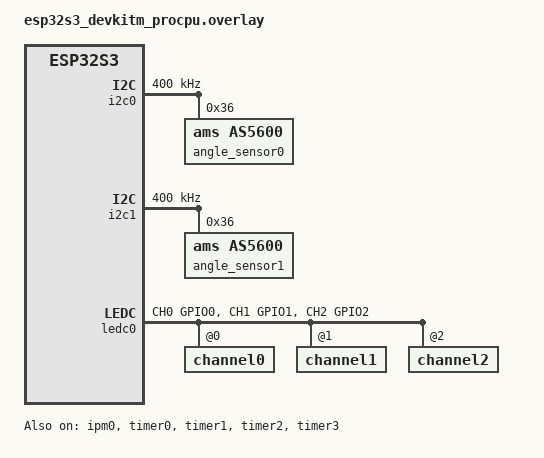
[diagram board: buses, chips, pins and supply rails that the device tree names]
/*
 * Copyright (c) 2023 Felipe Neves <ryukokki.felipe@gmail.com>
 *
 * SPDX-License-Identifier: Apache-2.0
 */

 #include <zephyr/dt-bindings/pwm/pwm.h>

/ {
	chosen {
		zephyr,console = &uart0;
		zephyr,shell-uart = &uart0;
		/*
		 * shared memory reserved for the inter-processor communication
		 */
		zephyr,ipc_shm = &shm0;
		zephyr,ipc = &ipm0;
	};
};

&pinctrl {
	ledc0_default: ledc0_default {
		group1 {
			pinmux = <LEDC_CH0_GPIO0>,
					<LEDC_CH1_GPIO1>,
					<LEDC_CH2_GPIO2>;
			output-enable;
		};
	};
};

&ipm0 {
	status = "okay";
};

&timer0 {
	status = "okay";
};

&timer1 {
	status = "okay";
};

&timer2 {
	status = "okay";
};

&timer3 {
	status = "okay";
};

&i2c0 {
	clock-frequency = <I2C_BITRATE_FAST>;
	pinctrl-0 = <&i2c0_default>;
	pinctrl-names = "default";
	status = "okay";

	angle_sensor0: as5600@36 {
		compatible = "ams,as5600";
		status = "okay";
		reg = <0x36>;
	};
};

&i2c1 {
	clock-frequency = <I2C_BITRATE_FAST>;
	pinctrl-0 = <&i2c1_default>;
	pinctrl-names = "default";
	status = "okay";

	angle_sensor1: as5600@36 {
		compatible = "ams,as5600";
		status = "okay";
		reg = <0x36>;
	};
};

&ledc0 {
	pinctrl-0 = <&ledc0_default>;
	pinctrl-names = "default";
	status = "okay";

	#address-cells = <1>;
	#size-cells = <0>;
	channel0@0 {
		reg = <0x0>;
		timer = <0>;
	};
	channel1@1 {
		reg = <0x1>;
		timer = <0>;
	};
	channel2@2 {
		reg = <0x2>;
		timer = <1>;
	};
};
